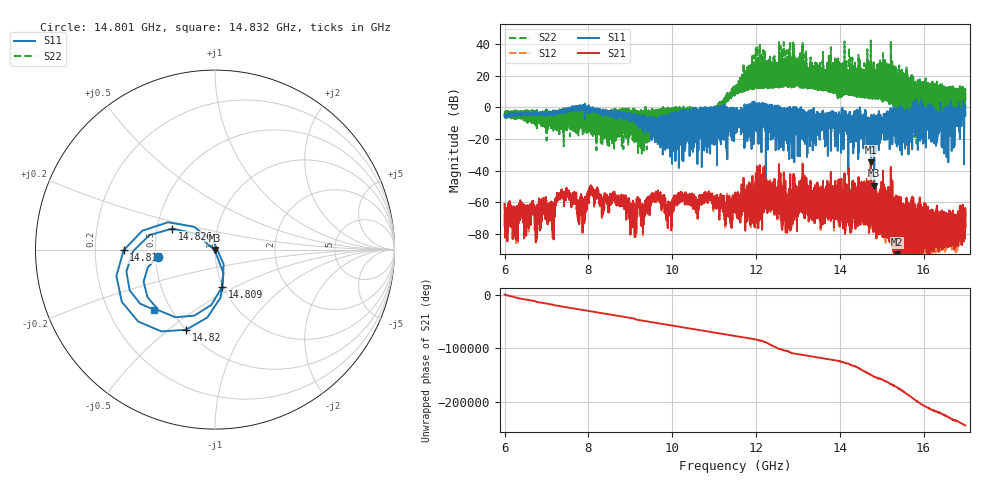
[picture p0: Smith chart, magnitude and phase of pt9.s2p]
#  HZ  S  RI  R  50.00
! Rohde & Schwarz Vector Network Analyzer
! Rohde-Schwarz,ZNA67-2Port,1332450062101215,3.01
! Created: UTC 10/15/2026, 12:43:17 PM
! freq[Hz]  re:S11  im:S11  re:S21  im:S21  re:S12  im:S12  re:S22  im:S22
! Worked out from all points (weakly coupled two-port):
!   11001 points, 6 GHz to 17 GHz, reference 50 ohm
!   highest |S21| = -34.73 dB at 14.741 GHz (marker M1); lowest = -98.9 dB at 15.365 GHz (marker M2)
!   lowest |S11| = -49.5 dB at 14.824 GHz (marker M3), VSWR 1.01, Z = 49.8 - j0.273 ohm
!   |S11| at or under -10 dB: 9.541719 GHz to 9.556551 GHz (14.83 MHz wide, 0.155 % of centre); 14.19384 GHz to 14.20769 GHz (13.84 MHz wide, 0.0975 % of centre); 14.7859 GHz to 14.80093 GHz (15.03 MHz wide, 0.102 % of centre) (the widest 3 of 565)
!   |S22| runs from -29.3 to 42.2 dB; largest |S21 - S12| = 0.004
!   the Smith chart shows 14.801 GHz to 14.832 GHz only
!   S11 on the Smith chart (normalised r, x): 14.801 GHz: 0.52, -0.05; 14.809 GHz: 0.99, -0.43; 14.815 GHz: 0.33, -0.00; 14.82 GHz: 0.50, -0.58; 14.826 GHz: 0.60, +0.15; 14.832 GHz: 0.40, -0.35
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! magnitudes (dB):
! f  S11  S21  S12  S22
! 6 GHz  -4.9  -61.1  -61.2  -5.5
! 7.15 GHz  -2.7  -75.6  -74.5  -4.0
! 7.51 GHz  -1.9  -53.6  -53.6  -2.6
! 7.834 GHz  -0.8  -56.7  -56.7  -4.3
! 8.065 GHz  -1.8  -51.5  -51.2  -11.2
! 9.091 GHz  -5.3  -65.8  -65.4  -13.4
! 9.667 GHz  -8.3  -54.3  -54.4  -1.7
! 9.941 GHz  -7.7  -63.1  -63.5  -9.2
! 10.834 GHz  -6.8  -58.3  -58.3  -2.6
! 11.5 GHz  -3.8  -59.5  -60.0  9.6
! 13.334 GHz  -14.0  -64.7  -65.0  15.7
! 14.741 GHz  -12.2  -34.7  -34.1  42.2
! 14.801 GHz  -9.9  -64.1  -62.8  11.5
! 14.809 GHz  -13.5  -67.5  -69.4  9.0
! 14.815 GHz  -5.9  -71.2  -72.4  11.1
! 14.82 GHz  -6.5  -68.4  -68.6  7.1
! 14.824 GHz  -49.5  -63.0  -63.7  14.3
! 14.826 GHz  -11.5  -69.4  -67.0  9.1
! 14.832 GHz  -6.4  -70.8  -69.2  7.5
! 15.167 GHz  -13.1  -78.7  -77.8  5.1
! 15.365 GHz  -16.7  -98.9  -98.8  -0.3
! 17 GHz  0.9  -75.7  -76.1  1.7
